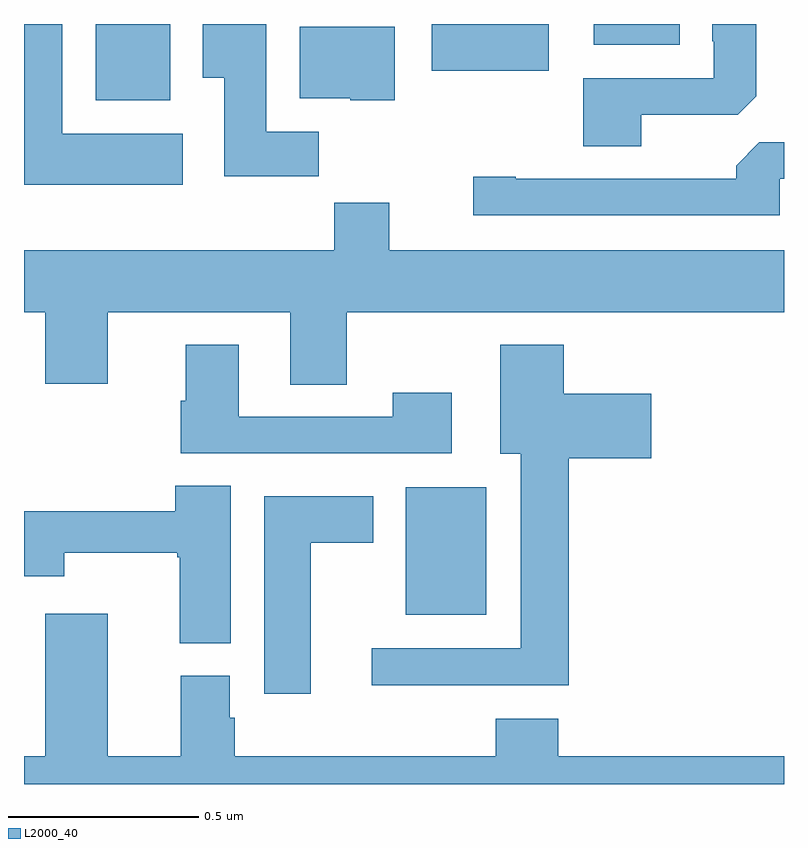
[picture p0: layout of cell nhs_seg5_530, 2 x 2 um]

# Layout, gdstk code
import gdstk
lib = gdstk.Library(unit=1e-6, precision=1e-09)
def R(c, l, rs):  # rectangles x0, y0, x1, y1
    for r in rs: c.add(gdstk.rectangle(r[:2], r[2:], *l))
def P(c, l, *ps):  # polygons
    for p in ps: c.add(gdstk.Polygon(p, *l))
L2000_40 = (2000, 40)

nhs_seg5_530 = lib.new_cell('nhs_seg5_530')
R(nhs_seg5_530, L2000_40, [(118.004,909.245,118.216,909.58), (117.189,910.598,117.385,910.799), (118.073,910.676,118.381,910.799), (118.499,910.745,118.726,910.799)])
P(nhs_seg5_530, L2000_40, [(117.418,910.51),(117.1,910.51),(117.1,910.799),(117,910.799),(117,910.376),(117.418,910.376)],
  [(118.624,910.56),(118.878,910.56),(118.927,910.609),(118.927,910.799),(118.811,910.799),(118.811,910.753),(118.815,910.753),(118.815,910.656),(118.472,910.656),(118.472,910.477),(118.624,910.477)],
  [(117.776,910.516),(117.637,910.516),(117.637,910.799),(117.47,910.799),(117.47,910.657),(117.527,910.657),(117.527,910.398),(117.776,910.398)],
  [(117.976,910.792),(117.725,910.792),(117.725,910.604),(117.858,910.604),(117.858,910.598),(117.976,910.598)],
  [(118.989,910.392),(119,910.392),(119,910.488),(118.935,910.488),(118.874,910.426),(118.874,910.392),(118.294,910.392),(118.294,910.397),(118.182,910.397),(118.182,910.296),(118.989,910.296)],
  [(117.849,910.04),(119,910.04),(119,910.204),(117.961,910.204),(117.961,910.328),(117.817,910.328),(117.817,910.204),(117,910.204),(117,910.04),(117.056,910.04),(117.056,909.852),(117.22,909.852),(117.22,910.04),(117.701,910.04),(117.701,909.85),(117.849,909.85)],
  [(118.433,909.656),(118.651,909.656),(118.651,909.826),(118.42,909.826),(118.42,909.955),(118.253,909.955),(118.253,909.668),(118.307,909.668),(118.307,909.156),(117.915,909.156),(117.915,909.059),(118.433,909.059)],
  [(118.126,909.829),(117.97,909.829),(117.97,909.765),(117.565,909.765),(117.565,909.955),(117.425,909.955),(117.425,909.807),(117.413,909.807),(117.413,909.669),(118.126,909.669)],
  [(117.544,909.584),(117.398,909.584),(117.398,909.517),(117,909.517),(117,909.346),(117.106,909.346),(117.106,909.407),(117.403,909.407),(117.403,909.396),(117.41,909.396),(117.41,909.169),(117.544,909.169)],
  [(117.754,909.434),(117.919,909.434),(117.919,909.556),(117.632,909.556),(117.632,909.036),(117.754,909.036)],
  [(119,908.872),(118.406,908.872),(118.406,908.971),(118.241,908.971),(118.241,908.872),(117.554,908.872),(117.554,908.973),(117.541,908.973),(117.541,909.084),(117.413,909.084),(117.413,908.872),(117.22,908.872),(117.22,909.247),(117.056,909.247),(117.056,908.872),(117,908.872),(117,908.799),(119,908.799)])

lib.write_gds('nhs_seg5_530.gds')
